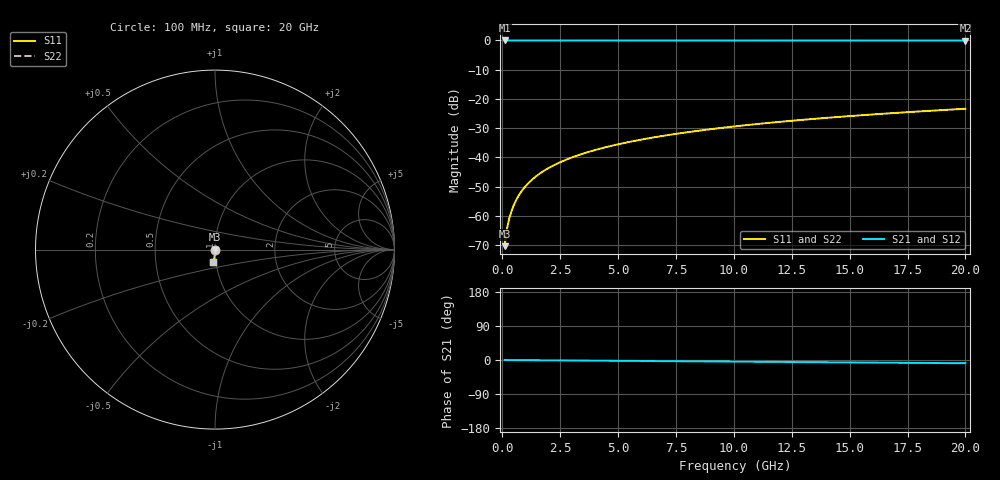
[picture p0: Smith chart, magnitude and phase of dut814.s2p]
! Touchstone file exported from HFSS 2026.1.0
!  File:  C:/ffzhzh/LocalFiles/Ansys_Project_Files/temp_train_TSV_814_1783184352_43440.aedt
!  Generated:  01:00:37 AM Jul  5, 2026
!  Design:  TSV
!  Project:  temp_train_TSV_814_1783184352_43440
! Variables:
!  h_bsmrdl = 2um
!  h_ox = 20um
!  h_rdl = 5um
!  h_sub = 78.97um
!  h_tmrdl = 5um
!  h_tsv = 78.97um
!  h_via = 3um
!  l_bsmrdl = 300um
!  l_sub = 428.32um
!  l_tmrdl = 200um
!  m_sub = 200um
!  pitch = 38.31um
!  r_tsv = 14.16um
!  s_tmrdl = 10um
!  w_bsmrdl = 18um
!  w_sub = 500um
!  w_tmrdl = 12um
!  x_tsv_center1 = 206um
!  x_tsv_center2 = 524um
!  x_tsv_center3 = 736um
!  x_tsv_center4 = 1054um
!  x_tsv_center5 = 1266um
!  x_tsv_center6 = 1584um
# GHz S MA R 50.000000
! Terminal data exported
! Port[1] = TSV1_1_T1
! Port[2] = TSV1_1_T2
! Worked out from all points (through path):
!   200 points, 100 MHz to 20 GHz, reference 50 ohm
!   highest |S21| = 0.00 dB at 100 MHz (marker M1); lowest = 0.0 dB at 20 GHz (marker M2)
!   group delay of S21, straight-line fit = 1.18 ps
!   lowest |S11| = -70.3 dB at 100 MHz (marker M3), VSWR 1.00, Z = 50 - j0.0293 ohm
!   |S11| at or under -10 dB: start of sweep to end of sweep
!   |S22| runs from -70.3 to -23.3 dB; largest |S21 - S12| = 4.2e-15
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0.1  0.0003052 -74.0  0.9999 -0.0  0.9999 -0.0  0.0003052 -74.0
! Gamma 0 0 0 0
! Port Impedance 50 0 50 0
0.2  0.0006 -80.4  0.9999 -0.1  0.9999 -0.1  0.0006 -80.4
0.3  0.0009062 -82.2  0.9999 -0.1  0.9999 -0.1  0.0009062 -82.2
0.4  0.001222 -83.0  0.9998 -0.2  0.9998 -0.2  0.001222 -83.0
0.5  0.001545 -83.5  0.9998 -0.2  0.9998 -0.2  0.001545 -83.5
0.7  0.002208 -84.4  0.9998 -0.3  0.9998 -0.3  0.002208 -84.4
0.8  0.002543 -84.7  0.9997 -0.4  0.9997 -0.4  0.002543 -84.7
1  0.003219 -85.4  0.9997 -0.4  0.9997 -0.4  0.003219 -85.4
1.2  0.003898 -86.0  0.9997 -0.5  0.9997 -0.5  0.003898 -86.0
1.4  0.004576 -86.5  0.9997 -0.6  0.9997 -0.6  0.004576 -86.5
1.7  0.005593 -87.1  0.9996 -0.7  0.9996 -0.7  0.005593 -87.1
2  0.006609 -87.6  0.9996 -0.9  0.9996 -0.9  0.006609 -87.6
2.7  0.00898 -88.4  0.9995 -1.2  0.9995 -1.2  0.00898 -88.4
3.5  0.01169 -89.1  0.9994 -1.5  0.9994 -1.5  0.01169 -89.1
4.2  0.01407 -89.7  0.9994 -1.8  0.9994 -1.8  0.01407 -89.7
5  0.0168 -90.2  0.9993 -2.1  0.9993 -2.1  0.0168 -90.2
6.8  0.02294 -91.2  0.9991 -2.9  0.9991 -2.9  0.02294 -91.2
8.3  0.02808 -92.0  0.9988 -3.5  0.9988 -3.5  0.02808 -92.0
10.1  0.03424 -92.9  0.9986 -4.3  0.9986 -4.3  0.03424 -92.9
13.4  0.04553 -94.5  0.998 -5.7  0.998 -5.7  0.04553 -94.5
16.7  0.05679 -96.0  0.9973 -7.1  0.9973 -7.1  0.05679 -96.0
20  0.06803 -97.5  0.9965 -8.5  0.9965 -8.5  0.06803 -97.5
